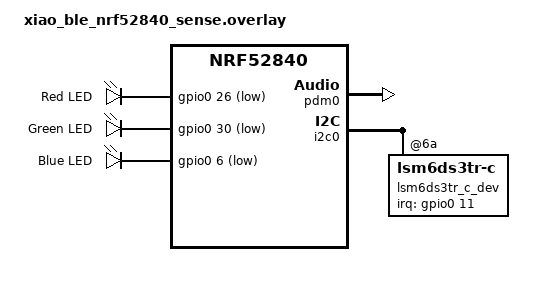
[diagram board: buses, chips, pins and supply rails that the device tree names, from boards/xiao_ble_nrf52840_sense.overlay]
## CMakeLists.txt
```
cmake_minimum_required(VERSION 3.20.0)
find_package(Zephyr REQUIRED HINTS $ENV{ZEPHYR_BASE})
project(tactigon_skin)

target_sources(
    app PRIVATE 
    src/main.c
    src/ble/ble.c
    src/audio/audio.c
    src/adpcm/adpcm.c
    src/imu/imu.c
    src/fusion/madgwick.c
    src/led/led.c
    src/sleep/sleep.c
)

target_include_directories(app PRIVATE
    src
)
```

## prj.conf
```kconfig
CONFIG_USERSPACE=y

# Logging e console
CONFIG_LOG=y
CONFIG_LOG_DEFAULT_LEVEL=3
CONFIG_CONSOLE=y
CONFIG_UART_CONSOLE=y
CONFIG_PRINTK=y
CONFIG_STDOUT_CONSOLE=y

# Bluetooth
CONFIG_BT=y
CONFIG_BT_PERIPHERAL=y
CONFIG_BT_DEVICE_NAME="Tactigon-Skin"

# Sottosistema Sensori
CONFIG_SENSOR=y
CONFIG_I2C=y
CONFIG_LSM6DSL=y
CONFIG_LSM6DSL_TRIGGER_OWN_THREAD=y


# Microfono PDM (Sensore integrato sulla XIAO BLE Sense)
CONFIG_AUDIO=y
CONFIG_AUDIO_DMIC=y
CONFIG_AUDIO_CODEC=y

# System OFF (sleep su inattivita)
CONFIG_POWEROFF=y

CONFIG_NEWLIB_LIBC=y
CONFIG_NEWLIB_LIBC_FLOAT_PRINTF=y

# Stack dei thread
CONFIG_MAIN_STACK_SIZE=2048
CONFIG_SYSTEM_WORKQUEUE_STACK_SIZE=2048
```

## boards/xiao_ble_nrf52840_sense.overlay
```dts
/*
 * SPDX-License-Identifier: Apache-2.0
 */
/ {
	msm261d3526hicpm-c-en {
		regulator-boot-on;
	};

	lsm6ds3tr_c_en_label: lsm6ds3tr-c-en {
        regulator-always-on;
    };

	leds {
        compatible = "gpio-leds";

        led_r: led_r {
            gpios = <&gpio0 26 GPIO_ACTIVE_LOW>;
            label = "Red LED";
        };

        led_g: led_g {
            gpios = <&gpio0 30 GPIO_ACTIVE_LOW>;
            label = "Green LED";
        };

        led_b: led_b {
            gpios = <&gpio0 6 GPIO_ACTIVE_LOW>;
            label = "Blue LED";
        };
    };

    aliases {
        led-r = &led_r;
        led-g = &led_g;
        led-b = &led_b;
    };
};

dmic_dev: &pdm0 {
	status = "okay";
};

&i2c0 {
    lsm6ds3tr_c_dev: lsm6ds3tr-c@6a {
        wakeup-source;
        irq-gpios = <&gpio0 11 GPIO_ACTIVE_HIGH>;
    };
};
```

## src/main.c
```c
#include <zephyr/kernel.h>
#include <zephyr/logging/log.h>
#include <zephyr/audio/dmic.h>

#include "ble/ble.h"
#include "audio/audio.h"
#include "adpcm/adpcm.h"
#include "imu/imu.h"
#include "led/led.h"
#include "sleep/sleep.h"

LOG_MODULE_REGISTER(main);

struct k_event app_events;

K_THREAD_STACK_DEFINE(ble_stack, 1024);
static struct k_thread ble_thread_data;

K_MSGQ_DEFINE(audio_queue, sizeof(adpcm_packet_t), 32, 4);
K_MSGQ_DEFINE(imu_queue, sizeof(imu_packet_t), 16, 4);

/* Thread entry: legge dalla coda ADPCM e invia BLE notify */
static void ble_thread(void *a, void *b, void *c)
{
    adpcm_packet_t audio_pkt;
    imu_packet_t imu_pkt;

    while (1)
    {
        if (k_msgq_get(&audio_queue, &audio_pkt, K_NO_WAIT) == 0)
        {
            ble_audio_notify(&audio_pkt);
        }

        if (k_msgq_get(&imu_queue, &imu_pkt, K_NO_WAIT) == 0)
        {
            ble_imu_notify(&imu_pkt);
        }

        k_sleep(K_MSEC(1));
    }
}


int main(void)
{
    k_event_init(&app_events);
    led_init();
    led_set_mode(LED_MODE_HEARTBEAT);

    uint32_t events = 0;
    int err;

    err = ble_init();

    if (err)
    {
        LOG_ERR("Failed to initialize BLE %d", err);
        return err;
    }

    LOG_INF("BLE initialized!");

    err = audio_init();
    if (err)
    {
        LOG_ERR("Audio init failed");
    }

    err = imu_init();
    if (err)
    {
        LOG_ERR("IMU init failed");
    }

    k_thread_create(&ble_thread_data,
                ble_stack,
                K_THREAD_STACK_SIZEOF(ble_stack),
                ble_thread,
                NULL, NULL, NULL,
                BLE_THREAD_PRIORITY,
                0,
                K_NO_WAIT);

    inactivity_init();

    while (1)
    {

        events = k_event_wait_safe(
            &app_events,
            EVT_BT_ALL,
            false,
            K_FOREVER);

        if (events & EVT_BT_CONNECTED)
        {
            inactivity_stop();
            led_set_mode(LED_MODE_CONNECTED);
            LOG_INF("CONNECTED");
        }

        if (events & EVT_BT_DISCONNECTED)
        {
            LOG_INF("DISCONNECTED");
            led_set_mode(LED_MODE_HEARTBEAT);
            reset_sleep();
            ble_adv_start();
        }

        if (events & EVT_BT_SUB_CHAR_IMU)
        {
            LOG_INF("SUB IMU");
            imu_start();
        }

        if (events & EVT_BT_SUB_CHAR_AUDIO)
        {
            LOG_INF("SUB AUDIO");
            // led_set_mode(LED_MODE_CONNECTED);
            k_event_set(&app_events, EVT_AUDIO_START);
        }

        if (events & EVT_BT_UNSUB_CHAR_IMU)
        {
            LOG_INF("UNSUB IMU");
            imu_stop();
        }

        if (events & EVT_BT_UNSUB_CHAR_AUDIO)
        {
            LOG_INF("UNSUB AUDIO");
            led_set_mode(LED_MODE_OFF);
            k_event_clear(&app_events, EVT_AUDIO_START);
        }

        k_event_clear(&app_events, events);
    }

    return 0;
}
```

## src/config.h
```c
/* Event flags */
#define EVT_BT_CONNECTED            BIT(0)
#define EVT_BT_DISCONNECTED         BIT(1)
#define EVT_BT_SUB_CHAR_IMU         BIT(2)
#define EVT_BT_SUB_CHAR_AUDIO       BIT(3)
#define EVT_BT_UNSUB_CHAR_IMU       BIT(4)
#define EVT_BT_UNSUB_CHAR_AUDIO     BIT(5)
#define EVT_AUDIO_START             BIT(6)
#define EVT_IMU_START               BIT(7)
#define EVT_LED_CONNECTED           BIT(8)

#define EVT_BT_ALL ( \
    EVT_BT_CONNECTED | EVT_BT_DISCONNECTED | \
    EVT_BT_SUB_CHAR_IMU | EVT_BT_SUB_CHAR_AUDIO | \
    EVT_BT_UNSUB_CHAR_IMU | EVT_BT_UNSUB_CHAR_AUDIO \
)

/* BLE config */
#define BLE_NAME                    "Tactigon-Skin"
#define BLE_BUFFER_LEN              20
#define BLE_THREAD_PRIORITY         4

/* Audio config */
#define PCM_SAMPLE_RATE             16000
#define PCM_WIDTH                   16
#define BLOCK_COUNT                 4
#define PCM_BLOCK_SIZE              320

/* IMU config */
#define G_VALUE                     9.80665f
#define FUSION_REFRESH_FREQ         104.0f
#define FUSION_BETA                 0.08f
#define M_PI                        3.14159265358979323846
#define IMU_WAKEUP_THS              8   /* soglia wake-up: 8 * 31.25 mg (+/-2g) = 250 mg */
#define IMU_WAKEUP_DUR              2   /* campioni consecutivi sopra soglia (0-3, 1 LSB = 38 ms a 26 Hz): filtra urti brevi sul tavolo */

/* Sleep config */
#define INACTIVITY_TIMEOUT          K_SECONDS(60)
```
